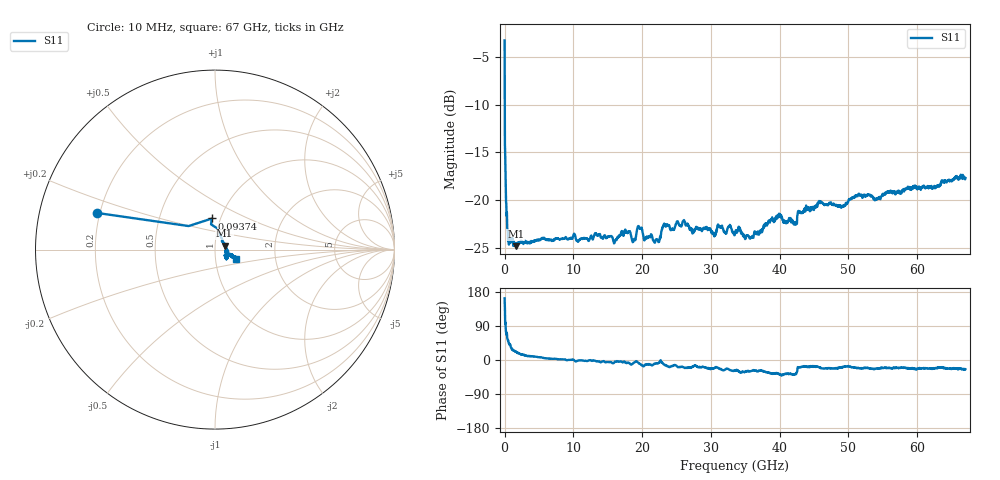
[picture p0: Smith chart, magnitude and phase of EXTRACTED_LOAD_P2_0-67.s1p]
! Generated by Phase I extraction
# Hz S RI R 50
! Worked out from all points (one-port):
!   1601 points, 10 MHz to 67 GHz, reference 50 ohm
!   lowest |S11| = -24.8 dB at 1.643 GHz (marker M1), VSWR 1.12, Z = 55.5 + j2.47 ohm
!   |S11| at or under -10 dB: 36 MHz to end of sweep
!   S11 on the Smith chart (normalised r, x): 10 MHz: 0.19, +0.15; 93.74 MHz: 0.91, +0.33; 67 GHz: 1.26, -0.14
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1e7  -0.6548 0.2038
9.37375e7  -0.0167 0.1734
3.868188e8  0.0379 0.061
5.542938e8  0.0383 0.0476
8.47375e8  0.0456 0.0388
1.642881e9  0.0531 0.0222
8.38375e9  0.0629 0.00174
1.3408e10  0.0656 -0.00399
1.60876e10  0.0615 -0.00456
1.67575e10  0.0654 -0.00478
1.788796e10  0.0668 -0.00821
1.87672e10  0.0608 -0.00797
1.964644e10  0.0708 -0.0124
2.048382e10  0.0617 -0.0134
2.21167e10  0.062 -0.00898
2.324716e10  0.0728 -0.0166
2.437761e10  0.0685 -0.0195
2.513125e10  0.0738 -0.0238
2.735029e10  0.0644 -0.0192
3.3505e10  0.0589 -0.031
3.589152e10  0.0565 -0.0308
3.986905e10  0.0671 -0.0492
4.187875e10  0.0617 -0.0481
4.585628e10  0.0904 -0.034
4.908018e10  0.0882 -0.0293
5.02525e10  0.0962 -0.0309
5.862625e10  0.1093 -0.0436
6.7e10  0.1191 -0.0541
